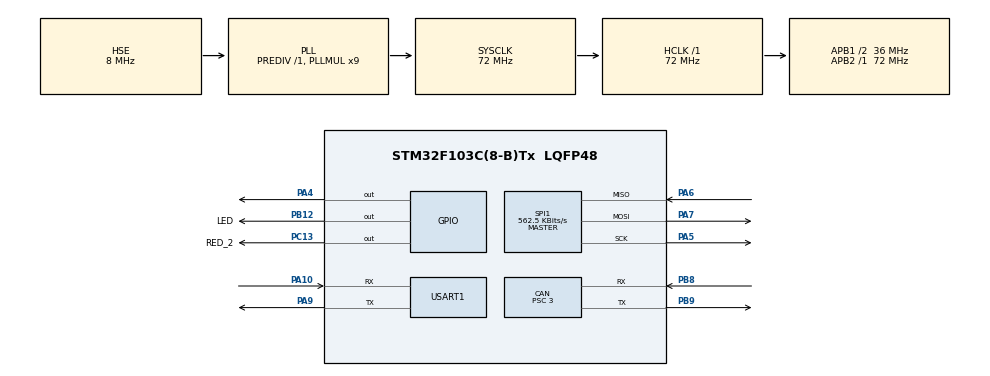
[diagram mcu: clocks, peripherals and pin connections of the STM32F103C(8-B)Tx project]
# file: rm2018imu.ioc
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CAN.ABOM=ENABLE
CAN.BS1=CAN_BS1_6TQ
CAN.BS2=CAN_BS2_5TQ
CAN.CalculateTimeBit=1000
CAN.CalculateTimeQuantum=83.33333333333334
CAN.Prescaler=3
CAN.TXFP=ENABLE
Mcu.Family=STM32F1
Mcu.Name=STM32F103C(8-B)Tx
Mcu.Package=LQFP48
NVIC.PriorityGroup=NVIC_PRIORITYGROUP_2
NVIC.TIM3_IRQn=true\:1\:2\:true\:false\:true\:true\:true
NVIC.USART1_IRQn=true\:3\:3\:true\:false\:true\:true\:true
NVIC.USB_HP_CAN1_TX_IRQn=true\:1\:1\:true\:false\:true\:true\:true
PA10.Mode=Asynchronous
PA10.Signal=USART1_RX
PA13.Mode=Serial_Wire
PA13.Signal=SYS_JTMS-SWDIO
PA14.Mode=Serial_Wire
PA14.Signal=SYS_JTCK-SWCLK
PA4.Signal=GPIO_Output
PA5.Mode=Full_Duplex_Master
PA5.Signal=SPI1_SCK
PA6.Mode=Full_Duplex_Master
PA6.Signal=SPI1_MISO
PA7.Mode=Full_Duplex_Master
PA7.Signal=SPI1_MOSI
PA9.Mode=Asynchronous
PA9.Signal=USART1_TX
PB12.GPIO_Label=LED
PB12.Signal=GPIO_Output
PB8.Mode=Master
PB8.Signal=CAN_RX
PB9.Mode=Master
PB9.Signal=CAN_TX
PC13-TAMPER-RTC.GPIO_Label=RED_2
PC13-TAMPER-RTC.Signal=GPIO_Output
PD0-OSC_IN.Mode=HSE-External-Oscillator
PD0-OSC_IN.Signal=RCC_OSC_IN
PD1-OSC_OUT.Mode=HSE-External-Oscillator
PD1-OSC_OUT.Signal=RCC_OSC_OUT
ProjectManager.HeapSize=0x200
ProjectManager.StackSize=0x400
ProjectManager.TargetToolchain=MDK-ARM V5
RCC.AHBFreq_Value=72000000
RCC.APB1CLKDivider=RCC_HCLK_DIV2
RCC.APB1Freq_Value=36000000
RCC.APB1TimFreq_Value=72000000
RCC.APB2Freq_Value=72000000
RCC.APB2TimFreq_Value=72000000
RCC.HCLKFreq_Value=72000000
RCC.PLLMUL=RCC_PLL_MUL9
RCC.PLLSourceVirtual=RCC_PLLSOURCE_HSE
RCC.SYSCLKFreq_VALUE=72000000
RCC.SYSCLKSource=RCC_SYSCLKSOURCE_PLLCLK
RCC.USBFreq_Value=72000000
SPI1.BaudRatePrescaler=SPI_BAUDRATEPRESCALER_128
SPI1.CalculateBaudRate=562.5 KBits/s
SPI1.Direction=SPI_DIRECTION_2LINES
SPI1.Mode=SPI_MODE_MASTER
SPI1.VirtualType=VM_MASTER
TIM3.Period=1000
TIM3.Prescaler=72-1
USART1.VirtualMode=VM_ASYNC
VP_TIM3_VS_ClockSourceINT.Mode=Internal
board=rm2018imu

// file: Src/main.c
/**
  ******************************************************************************
  * File Name          : main.c
  * Description        : Main program body
  ******************************************************************************
  ** This notice applies to any and all portions of this file
  * that are not between comment pairs USER CODE BEGIN and
  * USER CODE END. Other portions of this file, whether
  * inserted by the user or by software development tools
  * are owned by their respective copyright owners.
  *
  * COPYRIGHT(c) 2018 STMicroelectronics
  *
  * Redistribution and use in source and binary forms, with or without modification,
  * are permitted provided that the following conditions are met:
  *   1. Redistributions of source code must retain the above copyright notice,
  *      this list of conditions and the following disclaimer.
  *   2. Redistributions in binary form must reproduce the above copyright notice,
  *      this list of conditions and the following disclaimer in the documentation
  *      and/or other materials provided with the distribution.
  *   3. Neither the name of STMicroelectronics nor the names of its contributors
  *      may be used to endorse or promote products derived from this software
  *      without specific prior written permission.
  *
  * THIS SOFTWARE IS PROVIDED BY THE COPYRIGHT HOLDERS AND CONTRIBUTORS "AS IS"
  * AND ANY EXPRESS OR IMPLIED WARRANTIES, INCLUDING, BUT NOT LIMITED TO, THE
  * IMPLIED WARRANTIES OF MERCHANTABILITY AND FITNESS FOR A PARTICULAR PURPOSE ARE
  * DISCLAIMED. IN NO EVENT SHALL THE COPYRIGHT HOLDER OR CONTRIBUTORS BE LIABLE
  * FOR ANY DIRECT, INDIRECT, INCIDENTAL, SPECIAL, EXEMPLARY, OR CONSEQUENTIAL
  * DAMAGES (INCLUDING, BUT NOT LIMITED TO, PROCUREMENT OF SUBSTITUTE GOODS OR
  * SERVICES; LOSS OF USE, DATA, OR PROFITS; OR BUSINESS INTERRUPTION) HOWEVER
  * CAUSED AND ON ANY THEORY OF LIABILITY, WHETHER IN CONTRACT, STRICT LIABILITY,
  * OR TORT (INCLUDING NEGLIGENCE OR OTHERWISE) ARISING IN ANY WAY OUT OF THE USE
  * OF THIS SOFTWARE, EVEN IF ADVISED OF THE POSSIBILITY OF SUCH DAMAGE.
  *
  ******************************************************************************
  */
#include "main.h"
#include "stm32f1xx_hal.h"
#include "can.h"
#include "spi.h"
#include "tim.h"
#include "usart.h"
#include "gpio.h"

/* USER CODE BEGIN Includes */
#include "MPU6500.h"
#include "imu.h"
/* USER CODE END Includes */

/* USER CODE BEGIN PV */
/* Private variables ---------------------------------------------------------*/

/* USER CODE END PV */

void SystemClock_Config(void);

/* USER CODE BEGIN PFP */
/* Private function prototypes -----------------------------------------------*/

/* USER CODE END PFP */

int main(void)
{

  /* MCU Configuration----------------------------------------------------------*/

  /* Reset of all peripherals, Initializes the Flash interface and the Systick. */
  HAL_Init();

  /* Configure the system clock */
  SystemClock_Config();

  /* Initialize all configured peripherals */
  MX_GPIO_Init();
  MX_SPI1_Init();
  MX_CAN_Init();
  MX_USART1_UART_Init();
  MX_TIM3_Init();

  /* USER CODE BEGIN 2 */
	MPU6500_Init();
	HAL_TIM_Base_Start_IT(&htim3);
  /* USER CODE END 2 */

  /* Infinite loop */
  while (1)
  {

  /* USER CODE BEGIN 3 */
//		  HAL_GPIO_WritePin(RED_2_GPIO_Port, RED_2_Pin, GPIO_PIN_SET);
	 if(IMUhealth == 0)
	 {
		  LED_OFF;
		  HAL_Delay(100);
	 }
	 else
	 {
		  if(imu_init_ok)
			{
			  LED_ON;
			  HAL_Delay(300);
			  LED_OFF;
			  HAL_Delay(300);
		  }
			else
			{
			  LED_ON;
			  HAL_Delay(1000);
			  LED_OFF;
			  HAL_Delay(1000);
		  }
	 }
		printf("offset x%d y%d z%d\r\n",imu_data_offset.gx,imu_data_offset.gy,imu_data_offset.gz);
		printf("gyro x%d y%d z%d\r\n",imu_data.gx,imu_data.gy,imu_data.gz);
 		printf("gyro2 x%d y%d z%d\r\n",imu_data_forcal.gx,imu_data_forcal.gy,imu_data_forcal.gz);
////		printf("acce x%d y%d z%d\r\n",imu_data_forcal.ax,imu_data_forcal.ay,imu_data_forcal.az);
//	  HAL_Delay(100);
	  printf("angle:%f %f %f\r\n",angletrans,angleroll,anglepitch);
//		printf("q 1%f 2%f 3%f 4%f\r\n",q0,q1,q2,q3);
//	  HAL_Delay(100);
  }
  /* USER CODE END 3 */

}

/** System Clock Configuration
*/
void SystemClock_Config(void)
{
  RCC_OscInitTypeDef RCC_OscInitStruct;
  RCC_ClkInitTypeDef RCC_ClkInitStruct;
    /**Initializes the CPU, AHB and APB busses clocks
    */
  RCC_OscInitStruct.OscillatorType = RCC_OSCILLATORTYPE_HSE;
  RCC_OscInitStruct.HSEState = RCC_HSE_ON;
  RCC_OscInitStruct.HSEPredivValue = RCC_HSE_PREDIV_DIV1;
  RCC_OscInitStruct.HSIState = RCC_HSI_ON;
  RCC_OscInitStruct.PLL.PLLState = RCC_PLL_ON;
  RCC_OscInitStruct.PLL.PLLSource = RCC_PLLSOURCE_HSE;
  RCC_OscInitStruct.PLL.PLLMUL = RCC_PLL_MUL9;
  if (HAL_RCC_OscConfig(&RCC_OscInitStruct) != HAL_OK)
  {
    _Error_Handler(__FILE__, __LINE__);
  }
    /**Initializes the CPU, AHB and APB busses clocks
    */
  RCC_ClkInitStruct.ClockType = RCC_CLOCKTYPE_HCLK|RCC_CLOCKTYPE_SYSCLK
                              |RCC_CLOCKTYPE_PCLK1|RCC_CLOCKTYPE_PCLK2;
  RCC_ClkInitStruct.SYSCLKSource = RCC_SYSCLKSOURCE_PLLCLK;
  RCC_ClkInitStruct.AHBCLKDivider = RCC_SYSCLK_DIV1;
  RCC_ClkInitStruct.APB1CLKDivider = RCC_HCLK_DIV2;
  RCC_ClkInitStruct.APB2CLKDivider = RCC_HCLK_DIV1;

  if (HAL_RCC_ClockConfig(&RCC_ClkInitStruct, FLASH_LATENCY_2) != HAL_OK)
  {
    _Error_Handler(__FILE__, __LINE__);
  }

    /**Configure the Systick interrupt time
    */
  HAL_SYSTICK_Config(HAL_RCC_GetHCLKFreq()/1000);

    /**Configure the Systick
    */
  HAL_SYSTICK_CLKSourceConfig(SYSTICK_CLKSOURCE_HCLK);

  /* SysTick_IRQn interrupt configuration */
  HAL_NVIC_SetPriority(SysTick_IRQn, 0, 0);
}

void _Error_Handler(char * file, int line)
{
  while(1)
  {
  }
}

/************************ (C) COPYRIGHT STMicroelectronics *****END OF FILE****/
